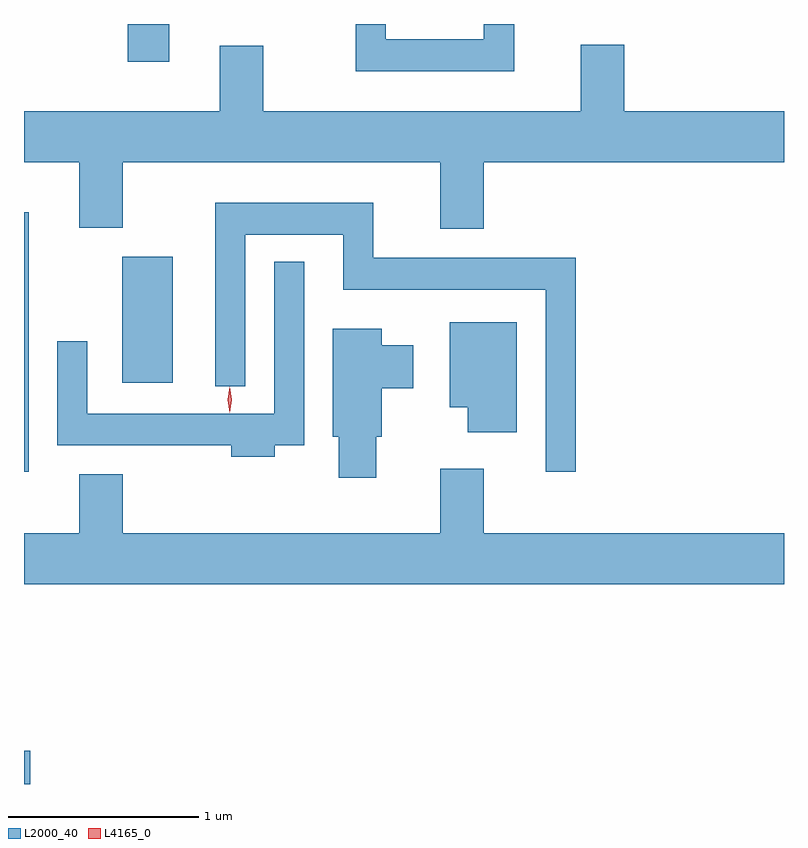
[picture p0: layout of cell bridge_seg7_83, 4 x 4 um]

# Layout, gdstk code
import gdstk
lib = gdstk.Library(unit=1e-6, precision=1e-09)
def R(c, l, rs):  # rectangles x0, y0, x1, y1
    for r in rs: c.add(gdstk.rectangle(r[:2], r[2:], *l))
def P(c, l, *ps):  # polygons
    for p in ps: c.add(gdstk.Polygon(p, *l))
L2000_40 = (2000, 40)
L4165_0 = (4165, 0)

bridge_seg7_83 = lib.new_cell('bridge_seg7_83')
R(bridge_seg7_83, L2000_40, [(1624.08,1782.084,1624.114,1782.259), (1624.08,1783.728,1624.104,1785.094), (1624.596,1784.196,1624.864,1784.859), (1624.626,1785.886,1624.844,1786.084)])
P(bridge_seg7_83, L2000_40, [(1626.659,1786.084),(1626.501,1786.084),(1626.501,1786.004),(1625.984,1786.004),(1625.984,1786.084),(1625.826,1786.084),(1625.826,1785.836),(1626.659,1785.836)],
  [(1626.499,1785.356),(1628.08,1785.356),(1628.08,1785.624),(1627.239,1785.624),(1627.239,1785.974),(1627.011,1785.974),(1627.011,1785.624),(1625.339,1785.624),(1625.339,1785.969),(1625.111,1785.969),(1625.111,1785.624),(1624.08,1785.624),(1624.08,1785.356),(1624.371,1785.356),(1624.371,1785.011),(1624.599,1785.011),(1624.599,1785.356),(1626.271,1785.356),(1626.271,1785.006),(1626.499,1785.006)],
  [(1626.984,1784.854),(1625.919,1784.854),(1625.919,1785.144),(1625.086,1785.144),(1625.086,1784.178),(1625.244,1784.178),(1625.244,1784.976),(1625.761,1784.976),(1625.761,1784.686),(1626.826,1784.686),(1626.826,1783.728),(1626.984,1783.728)],
  [(1625.399,1783.866),(1625.554,1783.866),(1625.554,1784.833),(1625.396,1784.833),(1625.396,1784.034),(1624.414,1784.034),(1624.414,1784.413),(1624.256,1784.413),(1624.256,1783.866),(1625.171,1783.866),(1625.171,1783.806),(1625.399,1783.806)],
  [(1626.674,1784.514),(1626.321,1784.514),(1626.321,1784.066),(1626.416,1784.066),(1626.416,1783.936),(1626.674,1783.936)],
  [(1625.934,1783.911),(1625.964,1783.911),(1625.964,1784.166),(1626.129,1784.166),(1626.129,1784.394),(1625.964,1784.394),(1625.964,1784.479),(1625.706,1784.479),(1625.706,1783.911),(1625.736,1783.911),(1625.736,1783.696),(1625.934,1783.696)],
  [(1628.08,1783.404),(1626.499,1783.404),(1626.499,1783.744),(1626.271,1783.744),(1626.271,1783.404),(1624.599,1783.404),(1624.599,1783.714),(1624.371,1783.714),(1624.371,1783.404),(1624.08,1783.404),(1624.08,1783.136),(1628.08,1783.136)])
P(bridge_seg7_83, L4165_0, [(1625.163,1784.037),(1625.162,1784.038),(1625.153,1784.107),(1625.162,1784.176),(1625.163,1784.176),(1625.163,1784.176),(1625.173,1784.107),(1625.163,1784.038)])

lib.write_gds('bridge_seg7_83.gds')
